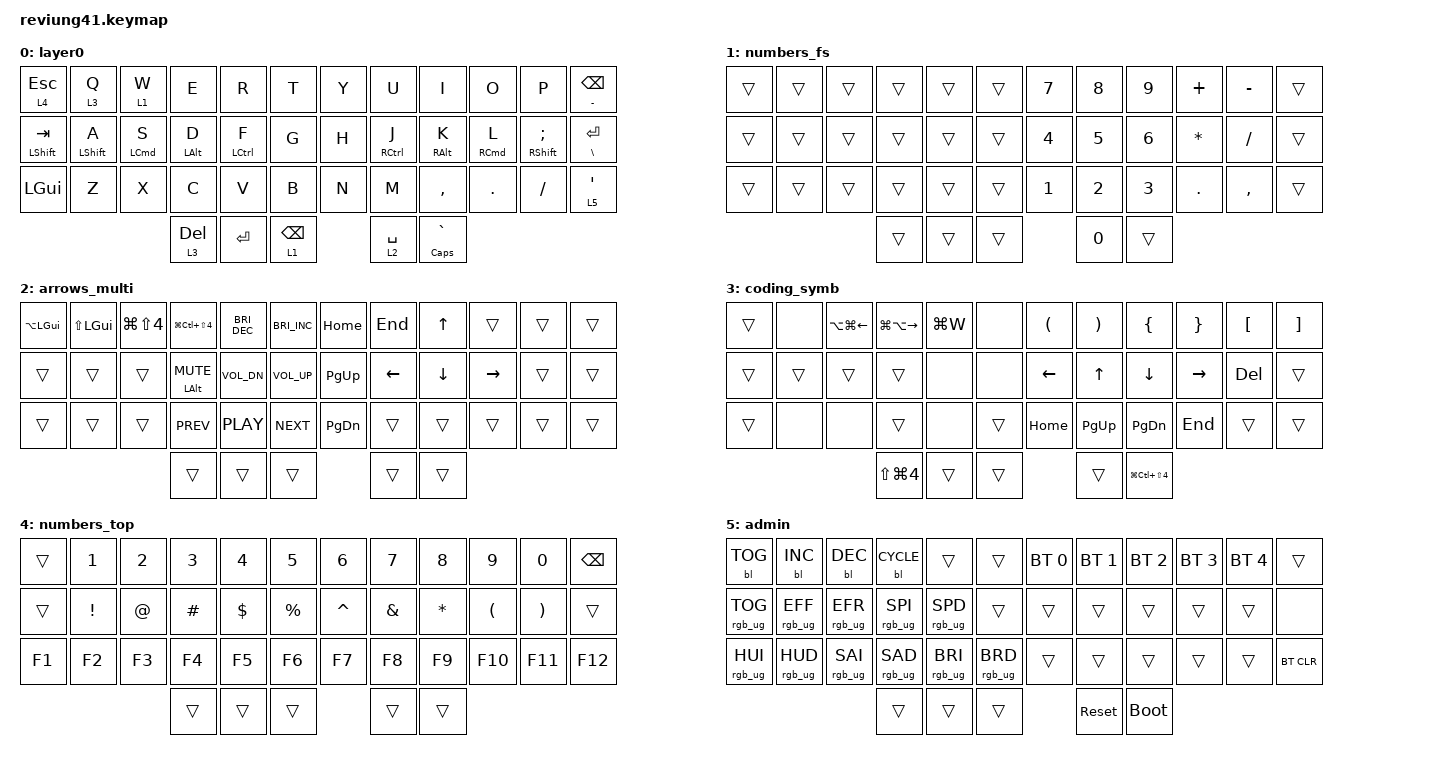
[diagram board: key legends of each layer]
/*
 * Copyright (c) 2020 The ZMK Contributors
 *
 * SPDX-License-Identifier: MIT
 */

#include <behaviors.dtsi>
#include <dt-bindings/zmk/backlight.h>
#include <dt-bindings/zmk/bt.h>
#include <dt-bindings/zmk/keys.h>
#include <dt-bindings/zmk/rgb.h>

/ {
    behaviors {
        hm: homerow_mods {
            compatible = "zmk,behavior-hold-tap";
            label = "HOMEROW_MODS";
            bindings = <&kp>, <&kp>;

            #binding-cells = <2>;
            tapping-term-ms = <175>;
            flavor = "tap-preferred";
            require-prior-idle-ms = <125>;
            quick-tap-ms = <150>;
        };

        shifthr: shifthr {
            compatible = "zmk,behavior-hold-tap";
            label = "SHIFTHR";
            bindings = <&kp>, <&kp>;

            #binding-cells = <2>;
            tapping-term-ms = <185>;
            flavor = "tap-preferred";
            quick-tap-ms = <185>;
        };

        weak: weak {
            compatible = "zmk,behavior-hold-tap";
            label = "WEAK";
            bindings = <&kp>, <&kp>;

            #binding-cells = <2>;
            tapping-term-ms = <230>;
            flavor = "tap-preferred";
            require-prior-idle-ms = <125>;
            quick-tap-ms = <230>;
        };
    };

    combos {
        compatible = "zmk,combos";

        equals {
            bindings = <&kp EQUAL>;
            key-positions = <0 1>;
        };

        underscore_right {
            bindings = <&kp MINUS>;
            key-positions = <11 10>;
        };

        space {
            bindings = <&kp SPACE>;
            key-positions = <16 19>;
            timeout-ms = <30>;
        };

        backlash {
            bindings = <&kp BACKSLASH>;
            key-positions = <23 22>;
        };
    };

    keymap {
        compatible = "zmk,keymap";

        layer0 {
            bindings = <
&lt 4 ESCAPE   &lt 3 Q           &lt 1 W             &kp E           &kp R               &kp T                   &kp Y  &kp U                &kp I               &kp O                &kp P                      &mt MINUS BACKSPACE
&mt LSHFT TAB  &hm LEFT_SHIFT A  &hm LEFT_COMMAND S  &hm LEFT_ALT D  &hm LEFT_CONTROL F  &kp G                   &kp H  &hm RIGHT_CONTROL J  &hm RIGHT_ALT K     &hm RIGHT_COMMAND L  &hm RIGHT_SHIFT SEMICOLON  &mt BACKSLASH ENTER
&kp LEFT_GUI   &kp Z             &kp X               &kp C           &kp V               &kp B                   &kp N  &kp M                &kp COMMA           &kp DOT              &kp SLASH                  &lt 5 SQT
                                                     &lt 3 DELETE    &kp ENTER                  &lt 1 BACKSPACE         &lt 2 SPACE          &mt CAPSLOCK GRAVE
            >;
        };

        numbers_fs {
            bindings = <
&trans  &trans  &trans  &trans  &trans  &trans          &kp N7  &kp N8        &kp N9  &kp PLUS      &kp MINUS  &trans
&trans  &trans  &trans  &trans  &trans  &trans          &kp N4  &kp N5        &kp N6  &kp ASTERISK  &kp SLASH  &trans
&trans  &trans  &trans  &trans  &trans  &trans          &kp N1  &kp N2        &kp N3  &kp PERIOD    &kp COMMA  &trans
                        &trans  &trans          &trans          &kp NUMBER_0  &trans
            >;
        };

        arrows_multi {
            bindings = <
&kp LA(LEFT_GUI)  &kp LS(LEFT_GUI)  &kp LG(LS(NUMBER_4))  &kp LG(LC(LS(NUMBER_4)))  &kp C_BRIGHTNESS_DEC  &kp C_BRIGHTNESS_INC          &kp HOME       &kp END   &kp UP    &trans     &trans  &trans
&trans            &trans            &trans                &hm LALT C_MUTE           &kp C_VOL_DN          &kp C_VOLUME_UP               &kp PAGE_UP    &kp LEFT  &kp DOWN  &kp RIGHT  &trans  &trans
&trans            &trans            &trans                &kp C_PREV                &kp C_PLAY            &kp C_NEXT                    &kp PAGE_DOWN  &trans    &trans    &trans     &trans  &trans
                                                          &trans                    &trans                                      &trans                 &trans    &trans
            >;
        };

        coding_symb {
            bindings = <
&trans  &none   &kp LA(LG(LEFT_ARROW))  &kp LG(LA(RIGHT_ARROW))  &kp LG(W)  &none           &kp LEFT_PARENTHESIS  &kp RIGHT_PARENTHESIS  &kp LEFT_BRACE            &kp RIGHT_BRACE  &kp LEFT_BRACKET  &kp RIGHT_BRACKET
&trans  &trans  &trans                  &trans                   &none      &none           &kp LEFT_ARROW        &kp UP_ARROW           &kp DOWN_ARROW            &kp RIGHT        &kp DELETE        &trans
&trans  &none   &none                   &trans                   &none      &trans          &kp HOME              &kp PAGE_UP            &kp PAGE_DOWN             &kp END          &trans            &trans
                                        &kp LS(LG(NUMBER_4))     &trans             &trans                        &trans                 &kp LG(LC(LS(NUMBER_4)))
            >;
        };

        numbers_top {
            bindings = <
&trans  &kp NUMBER_1     &kp NUMBER_2  &kp NUMBER_3  &kp NUMBER_4  &kp N5               &kp NUMBER_6  &kp N7         &kp N8        &kp N9                &kp N0                 &kp BACKSPACE
&trans  &kp EXCLAMATION  &kp AT_SIGN   &kp HASH      &kp DOLLAR    &kp PERCENT          &kp CARET     &kp AMPERSAND  &kp ASTERISK  &kp LEFT_PARENTHESIS  &kp RIGHT_PARENTHESIS  &trans
&kp F1  &kp F2           &kp F3        &kp F4        &kp F5        &kp F6               &kp F7        &kp F8         &kp F9        &kp F10               &kp F11                &kp F12
                                       &trans        &trans                     &trans                &trans         &trans
            >;
        };

        admin {
            bindings = <
&bl BL_TOG       &bl BL_INC       &bl BL_DEC       &bl BL_CYCLE     &trans           &trans                   &bt BT_SEL 0  &bt BT_SEL 1  &bt BT_SEL 2  &bt BT_SEL 3  &bt BT_SEL 4  &trans
&rgb_ug RGB_TOG  &rgb_ug RGB_EFF  &rgb_ug RGB_EFR  &rgb_ug RGB_SPI  &rgb_ug RGB_SPD  &trans                   &trans        &trans        &trans        &trans        &trans        &none
&rgb_ug RGB_HUI  &rgb_ug RGB_HUD  &rgb_ug RGB_SAI  &rgb_ug RGB_SAD  &rgb_ug RGB_BRI  &rgb_ug RGB_BRD          &trans        &trans        &trans        &trans        &trans        &bt BT_CLR
                                                   &trans           &trans                            &trans                &sys_reset    &bootloader
            >;
        };
    };
};
